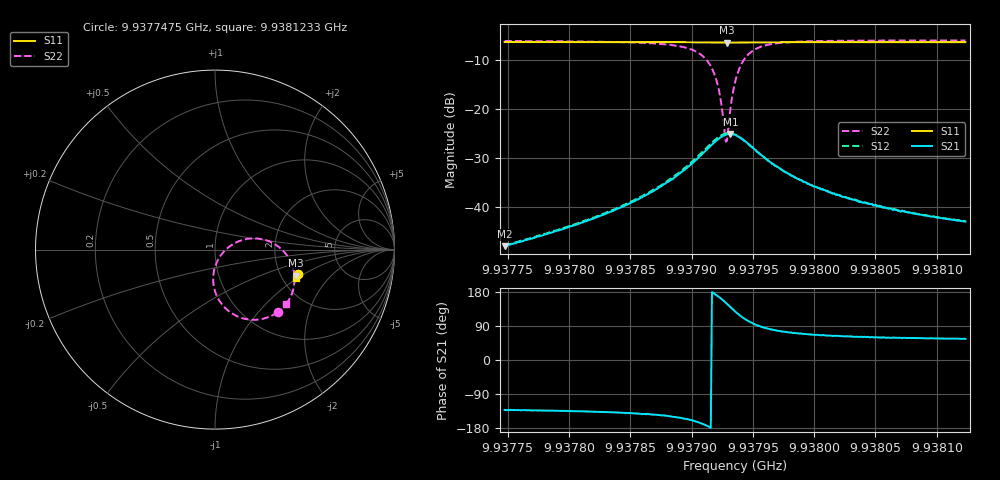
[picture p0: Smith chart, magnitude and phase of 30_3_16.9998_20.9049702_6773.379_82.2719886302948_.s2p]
#  HZ  S  RI  R  50.00
! Rohde & Schwarz Vector Network Analyzer
! Rohde-Schwarz,ZNB20-2Port,1311601062101988,3.16
! Created: UTC 3/20/2024, 10:53:22 PM
! freq[Hz]  re:S11  im:S11  re:S21  im:S21  re:S12  im:S12  re:S22  im:S22
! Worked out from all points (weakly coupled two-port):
!   401 points, 9.9377475 GHz to 9.9381233 GHz, reference 50 ohm
!   highest |S21| = -25.10 dB at 9.9379317 GHz (marker M1); lowest = -48.0 dB at 9.9377475 GHz (marker M2)
!   lowest |S11| = -6.5 dB at 9.9379288 GHz (marker M3), VSWR 2.80, Z = 120 - j44.9 ohm
!   |S11| at or under -10 dB: nowhere
!   |S22| runs from -26.7 to -6.0 dB; largest |S21 - S12| = 0.0046
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9.93774751e9  0.462 -0.1353  -0.00264 -0.00296  -0.00276 -0.00298  0.3488 -0.3485
9.93781046e9  0.4601 -0.1398  -0.00492 -0.00488  -0.00512 -0.0049  0.3247 -0.3634
9.93784616e9  0.459 -0.1424  -0.0079 -0.00673  -0.00822 -0.00677  0.296 -0.3768
9.93787341e9  0.4577 -0.1445  -0.0129 -0.00903  -0.0134 -0.00887  0.2503 -0.3886
9.93789878e9  0.456 -0.1465  -0.0247 -0.00987  -0.026 -0.00975  0.1488 -0.3808
9.93791287e9  0.4537 -0.147  -0.0387 -0.00414  -0.0408 -0.00239  0.0395 -0.3058
9.93791663e9  0.4529 -0.1469  -0.0432 0.000657  -0.0454 0.00288  0.0101 -0.2582
9.93792039e9  0.4525 -0.1464  -0.047 0.00731  -0.0489 0.0105  -0.00822 -0.1941
9.93792321e9  0.4519 -0.1459  -0.0489 0.0138  -0.0501 0.0177  -0.00847 -0.1359
9.93792697e9  0.4515 -0.145  -0.0483 0.0238  -0.0482 0.0282  0.0179 -0.0549
9.93792884e9  0.4515 -0.1444  -0.0467 0.0291  -0.0456 0.0335  0.044 -0.0172
9.93792978e9  0.4518 -0.1443  -0.0455 0.0314  -0.0441 0.0356  0.0595 -0.00048
9.93793166e9  0.4518 -0.1437  -0.0423 0.036  -0.0401 0.0398  0.0952 0.0272
9.93793354e9  0.4522 -0.1432  -0.038 0.0397  -0.0357 0.0431  0.1352 0.0474
9.93793542e9  0.4526 -0.143  -0.0338 0.0426  -0.0309 0.0454  0.1761 0.059
9.93793824e9  0.4534 -0.1426  -0.0265 0.045  -0.0234 0.0468  0.2359 0.0617
9.937942e9  0.4543 -0.1426  -0.0177 0.0454  -0.0147 0.046  0.3036 0.0451
9.93795233e9  0.4561 -0.1439  -0.00205 0.0379  -0.00024 0.0375  0.407 -0.0412
9.93797206e9  0.4568 -0.1466  0.00572 0.024  0.00647 0.0235  0.4435 -0.1603
9.93799837e9  0.4564 -0.1493  0.00644 0.0152  0.00673 0.0151  0.4342 -0.229
9.93806132e9  0.4548 -0.1542  0.00504 0.00829  0.00518 0.00822  0.4094 -0.2846
9.93812333e9  0.4532 -0.1586  0.00398 0.00585  0.0041 0.00586  0.3955 -0.3048
